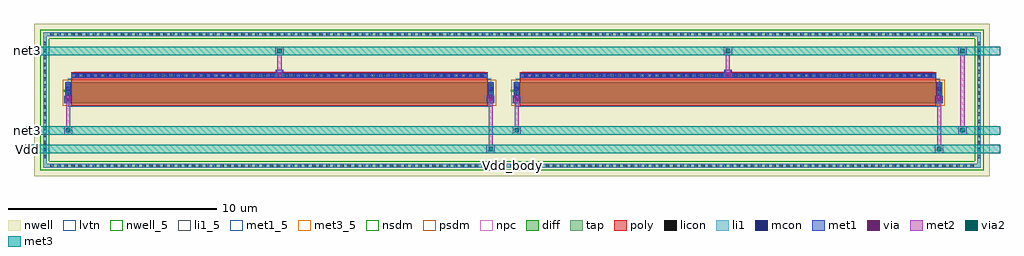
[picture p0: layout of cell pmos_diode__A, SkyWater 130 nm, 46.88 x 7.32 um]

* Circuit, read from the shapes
.subckt pmos_diode__A Vdd Vdd_body net3
XM1 Vdd net3 net3 Vdd_body sky130_fd_pr__pfet_01v8_lvt w=1 l=20 m=2
.ends

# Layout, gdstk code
import gdstk
lib = gdstk.Library(unit=1e-6, precision=1e-09)
def R(c, l, rs):  # rectangles x0, y0, x1, y1
    for r in rs: c.add(gdstk.rectangle(r[:2], r[2:], *l))
def A(c, l, x, y, w, h, nx, ny, dx, dy):  # array of equal rectangles
    R(c, l, [(x+i*dx, y+j*dy, x+i*dx+w, y+j*dy+h) for i in range(nx) for j in range(ny)])
nwell_5 = (64, 5)
nwell = (64, 20)
diff = (65, 20)
tap = (65, 44)
poly = (66, 20)
licon = (66, 44)
li1_5 = (67, 5)
li1 = (67, 20)
mcon = (67, 44)
met1_5 = (68, 5)
met1 = (68, 20)
via = (68, 44)
met2 = (69, 20)
via2 = (69, 44)
met3_5 = (70, 5)
met3 = (70, 20)
nsdm = (93, 44)
psdm = (94, 20)
npc = (95, 20)
lvtn = (125, 44)

sky130_fd_pr__pfet_01v8_ = lib.new_cell('sky130_fd_pr__pfet_01v8_lvt_4N9G9U')
R(sky130_fd_pr__pfet_01v8_, nwell, [(-10.47,-0.99,10.47,0.82)])
R(sky130_fd_pr__pfet_01v8_, diff, [(-10.29,-0.68,10.29,0.32)])
R(sky130_fd_pr__pfet_01v8_, poly, [(-10,-0.81,10,0.805)])
A(sky130_fd_pr__pfet_01v8_, licon, -10.23, -0.605, 0.17, 0.17, 1, 3, 0, 0.34)
A(sky130_fd_pr__pfet_01v8_, licon, 10.06, -0.605, 0.17, 0.17, 1, 3, 0, 0.34)
A(sky130_fd_pr__pfet_01v8_, licon, -9.775, 0.555, 0.17, 0.17, 58, 1, 0.34, 0)
R(sky130_fd_pr__pfet_01v8_, li1, [(-10.23,-0.7,-10.06,0.34), (10.06,-0.7,10.23,0.34), (-10,0.555,10,0.725)])
A(sky130_fd_pr__pfet_01v8_, mcon, -9.805, 0.555, 0.17, 0.17, 55, 1, 0.36, 0)
R(sky130_fd_pr__pfet_01v8_, mcon, [(-10.23,-0.445,-10.06,-0.275), (10.06,-0.445,10.23,-0.275), (-10.23,-0.085,-10.06,0.085), (10.06,-0.085,10.23,0.085)])
R(sky130_fd_pr__pfet_01v8_, met1, [(-10.26,-0.68,-10.03,0.32), (10.03,-0.68,10.26,0.32), (-9.98,0.525,9.98,0.755)])
R(sky130_fd_pr__pfet_01v8_, psdm, [(-10.415,-0.805,10.415,0.445)])
R(sky130_fd_pr__pfet_01v8_, npc, [(-9.875,0.455,9.875,0.825)])
R(sky130_fd_pr__pfet_01v8_, lvtn, [(-10.18,-0.86,10.18,0.5)])
sky130_fd_pr__pfet_01v8_.add(gdstk.Label('D', (-10.145,-0.18), layer=67, texttype=5))
sky130_fd_pr__pfet_01v8_.add(gdstk.Label('S', (10.145,-0.18), layer=67, texttype=5))
sky130_fd_pr__pfet_01v8_.add(gdstk.Label('G', (0,0.64), layer=67, texttype=5))

pfet_01v8_lvt_w1_l20_m2_ = lib.new_cell('pfet_01v8_lvt_W1_L20_m2__nf1_gtop_sdfull_ng')
R(pfet_01v8_lvt_w1_l20_m2_, nwell_5, [(0.05,0.855,0.15,0.955)])
R(pfet_01v8_lvt_w1_l20_m2_, nwell, [(0.05,0.855,0.15,0.955)])
R(pfet_01v8_lvt_w1_l20_m2_, met1_5, [(0.21,0.81,0.44,1.01), (20.5,0.81,20.73,1.01), (0.49,1.515,20.45,1.745)])
R(pfet_01v8_lvt_w1_l20_m2_, met1, [(0.21,0.81,0.44,1.01), (20.5,0.81,20.73,1.01), (0.49,1.515,20.45,1.745)])
pfet_01v8_lvt_w1_l20_m2_.add(gdstk.Reference(sky130_fd_pr__pfet_01v8_, (10.47,0.99)))
pfet_01v8_lvt_w1_l20_m2_.add(gdstk.Label('D', (0.325,0.91), layer=68, texttype=5))
pfet_01v8_lvt_w1_l20_m2_.add(gdstk.Label('S', (20.615,0.91), layer=68, texttype=5))
pfet_01v8_lvt_w1_l20_m2_.add(gdstk.Label('G', (10.47,1.63), layer=68, texttype=5))
pfet_01v8_lvt_w1_l20_m2_.add(gdstk.Label('B', (0.1,0.905), layer=64, texttype=5))

pmos_diode__a = lib.new_cell('pmos_diode__A')
R(pmos_diode__a, nwell, [(-1.3,-3.2,44.58,4.115)])
R(pmos_diode__a, tap, [(-0.885,-2.785,44.165,-2.615), (-0.885,-2.615,-0.715,3.53), (43.995,-2.615,44.165,3.53), (-0.885,3.53,44.165,3.7)])
A(pmos_diode__a, licon, -0.545, -2.785, 0.17, 0.17, 131, 2, 0.34, 6.315)
A(pmos_diode__a, licon, -0.885, -2.35, 0.17, 0.17, 1, 17, 0, 0.34)
A(pmos_diode__a, licon, 43.995, -2.35, 0.17, 0.17, 1, 17, 0, 0.34)
R(pmos_diode__a, li1_5, [(21.59,-2.75,21.69,-2.65)])
R(pmos_diode__a, li1, [(-0.885,-2.785,44.165,-2.615), (-0.885,-2.615,-0.715,3.53), (43.995,-2.615,44.165,3.53), (-0.885,3.53,44.165,3.7)])
R(pmos_diode__a, met1, [(0.145,0.31,0.505,0.67), (20.435,0.31,20.795,0.67), (21.685,0.31,22.045,0.67), (41.975,0.31,42.335,0.67), (10.29,1.545,10.65,1.905), (31.83,1.545,32.19,1.905)])
R(pmos_diode__a, via, [(0.25,0.415,0.4,0.565), (20.54,0.415,20.69,0.565), (21.79,0.415,21.94,0.565), (42.08,0.415,42.23,0.565), (10.395,1.65,10.545,1.8), (31.935,1.65,32.085,1.8)])
R(pmos_diode__a, met2, [(20.415,-2.1,20.815,-1.7), (41.955,-2.1,42.355,-1.7), (20.515,-1.7,20.715,0.33), (42.055,-1.7,42.255,0.33), (0.125,-1.2,0.525,-0.8), (21.665,-1.2,22.065,-0.8), (43.08,-1.2,43.48,-0.8), (0.225,-0.8,0.425,0.33), (21.765,-0.8,21.965,0.33), (43.18,-0.8,43.38,2.615), (0.195,0.33,0.455,0.65), (20.485,0.33,20.745,0.65), (21.735,0.33,21.995,0.65), (42.025,0.33,42.285,0.65), (10.34,1.565,10.6,1.885), (31.88,1.565,32.14,1.885), (10.37,1.885,10.57,2.615), (31.91,1.885,32.11,2.615), (10.27,2.615,10.67,3.015), (31.81,2.615,32.21,3.015), (43.08,2.615,43.48,3.015)])
R(pmos_diode__a, via2, [(20.515,-2,20.715,-1.8), (42.055,-2,42.255,-1.8), (0.225,-1.1,0.425,-0.9), (21.765,-1.1,21.965,-0.9), (43.18,-1.1,43.38,-0.9), (10.37,2.715,10.57,2.915), (31.91,2.715,32.11,2.915), (43.18,2.715,43.38,2.915)])
R(pmos_diode__a, met3_5, [(-1.7,-1.95,-1.6,-1.85), (-1.7,-1.05,-1.6,-0.95), (-1.7,2.765,-1.6,2.865)])
R(pmos_diode__a, met3, [(-1.8,-2.1,45.08,-1.7), (-1.8,-1.2,45.08,-0.8), (-1.8,2.615,45.08,3.015)])
R(pmos_diode__a, nsdm, [(-1.01,-2.91,44.29,-2.49), (-1.01,-2.49,-0.59,3.405), (43.87,-2.49,44.29,3.405), (-1.01,3.405,44.29,3.825)])
pmos_diode__a.add(gdstk.Reference(pfet_01v8_lvt_w1_l20_m2_, (21.54,0)))
pmos_diode__a.add(gdstk.Reference(pfet_01v8_lvt_w1_l20_m2_, (0,0)))
pmos_diode__a.add(gdstk.Label('net3', (-1.65,2.815), layer=70, texttype=5))
pmos_diode__a.add(gdstk.Label('net3', (-1.65,-1), layer=70, texttype=5))
pmos_diode__a.add(gdstk.Label('Vdd', (-1.65,-1.9), layer=70, texttype=5))
pmos_diode__a.add(gdstk.Label('Vdd_body', (21.64,-2.7), layer=67, texttype=5))

lib.write_gds('pmos_diode__A.gds')
